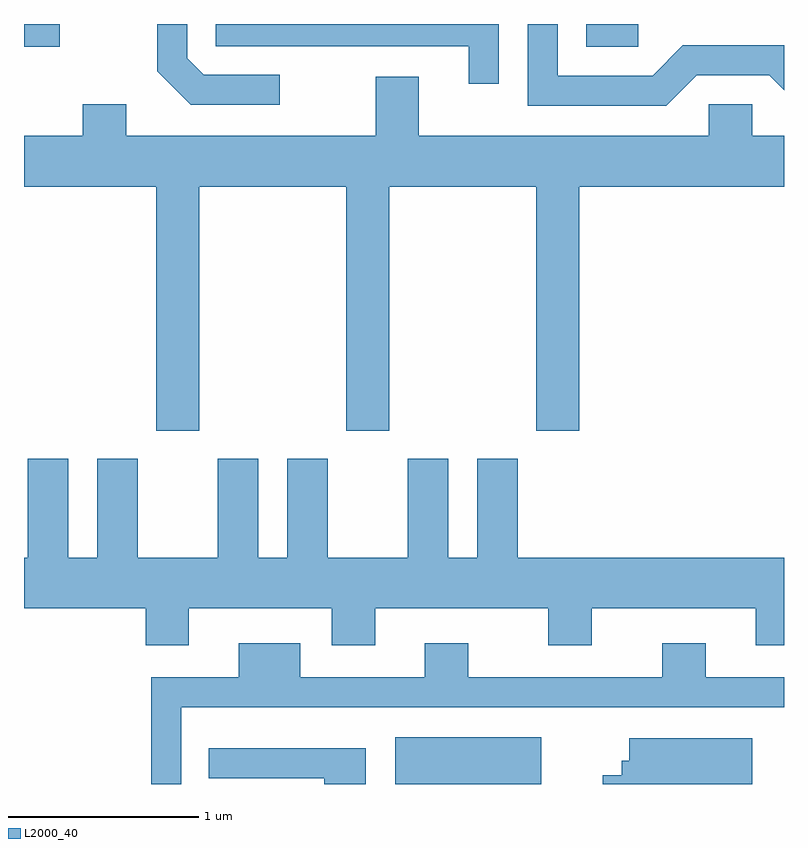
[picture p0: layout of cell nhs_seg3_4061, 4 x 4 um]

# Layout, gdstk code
import gdstk
lib = gdstk.Library(unit=1e-6, precision=1e-09)
def R(c, l, rs):  # rectangles x0, y0, x1, y1
    for r in rs: c.add(gdstk.rectangle(r[:2], r[2:], *l))
def P(c, l, *ps):  # polygons
    for p in ps: c.add(gdstk.Polygon(p, *l))
L2000_40 = (2000, 40)

nhs_seg3_4061 = lib.new_cell('nhs_seg3_4061')
R(nhs_seg3_4061, L2000_40, [(305.566,1213.892,306.334,1214.139), (303.611,1217.771,303.798,1217.892), (306.571,1217.771,306.843,1217.892)])
P(nhs_seg3_4061, L2000_40, [(306.109,1217.892),(304.621,1217.892),(304.621,1217.776),(305.951,1217.776),(305.951,1217.578),(306.109,1217.578)],
  [(307.152,1217.621),(307.534,1217.621),(307.611,1217.544),(307.611,1217.779),(307.079,1217.779),(306.919,1217.619),(306.419,1217.619),(306.419,1217.892),(306.261,1217.892),(306.261,1217.461),(306.992,1217.461)],
  [(304.958,1217.624),(304.557,1217.624),(304.469,1217.712),(304.469,1217.892),(304.311,1217.892),(304.311,1217.644),(304.489,1217.466),(304.958,1217.466)],
  [(304.534,1217.036),(305.306,1217.036),(305.306,1215.751),(305.534,1215.751),(305.534,1217.036),(306.306,1217.036),(306.306,1215.751),(306.534,1215.751),(306.534,1217.036),(307.611,1217.036),(307.611,1217.304),(307.444,1217.304),(307.444,1217.469),(307.216,1217.469),(307.216,1217.304),(305.689,1217.304),(305.689,1217.614),(305.461,1217.614),(305.461,1217.304),(304.149,1217.304),(304.149,1217.469),(303.921,1217.469),(303.921,1217.304),(303.611,1217.304),(303.611,1217.036),(304.306,1217.036),(304.306,1215.751),(304.534,1215.751)],
  [(303.996,1215.604),(303.996,1215.084),(303.844,1215.084),(303.844,1215.604),(303.631,1215.604),(303.631,1215.084),(303.611,1215.084),(303.611,1214.816),(304.251,1214.816),(304.251,1214.621),(304.479,1214.621),(304.479,1214.816),(305.231,1214.816),(305.231,1214.621),(305.459,1214.621),(305.459,1214.816),(306.371,1214.816),(306.371,1214.621),(306.599,1214.621),(306.599,1214.816),(307.461,1214.816),(307.461,1214.621),(307.611,1214.621),(307.611,1215.084),(306.209,1215.084),(306.209,1215.604),(305.996,1215.604),(305.996,1215.084),(305.844,1215.084),(305.844,1215.604),(305.631,1215.604),(305.631,1215.084),(305.209,1215.084),(305.209,1215.604),(304.996,1215.604),(304.996,1215.084),(304.844,1215.084),(304.844,1215.604),(304.631,1215.604),(304.631,1215.084),(304.209,1215.084),(304.209,1215.604)],
  [(304.439,1214.296),(307.611,1214.296),(307.611,1214.454),(307.199,1214.454),(307.199,1214.634),(306.971,1214.634),(306.971,1214.454),(305.949,1214.454),(305.949,1214.634),(305.721,1214.634),(305.721,1214.454),(305.064,1214.454),(305.064,1214.634),(304.741,1214.634),(304.741,1214.454),(304.281,1214.454),(304.281,1213.892),(304.439,1213.892)],
  [(307.444,1214.134),(306.796,1214.134),(306.796,1214.014),(306.756,1214.014),(306.756,1213.939),(306.656,1213.939),(306.656,1213.892),(307.444,1213.892)],
  [(305.409,1214.079),(304.583,1214.079),(304.583,1213.921),(305.191,1213.921),(305.191,1213.892),(305.409,1213.892)])

lib.write_gds('nhs_seg3_4061.gds')
